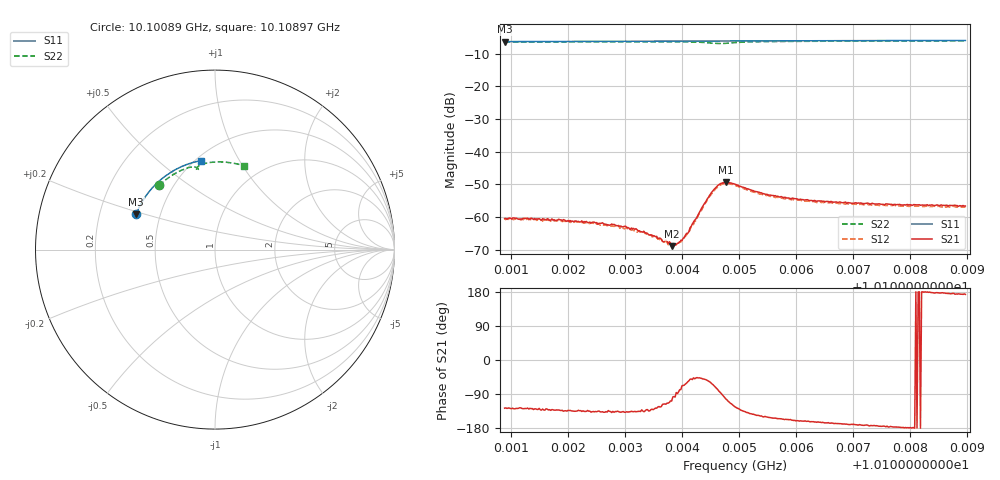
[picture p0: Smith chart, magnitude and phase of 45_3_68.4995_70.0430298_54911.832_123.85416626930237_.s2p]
#  HZ  S  RI  R  50.00
! Rohde & Schwarz Vector Network Analyzer
! Rohde-Schwarz,ZNB20-2Port,1311601062101988,3.16
! Created: UTC 3/20/2024, 5:05:45 PM
! freq[Hz]  re:S11  im:S11  re:S21  im:S21  re:S12  im:S12  re:S22  im:S22
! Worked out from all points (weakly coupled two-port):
!   401 points, 10.10089 GHz to 10.10897 GHz, reference 50 ohm
!   highest |S21| = -49.26 dB at 10.10477 GHz (marker M1); lowest = -68.9 dB at 10.10382 GHz (marker M2)
!   lowest |S11| = -6.4 dB at 10.10089 GHz (marker M3), VSWR 2.86, Z = 18.2 + j9.34 ohm
!   |S11| at or under -10 dB: nowhere
!   |S22| runs from -6.9 to -6.1 dB; largest |S21 - S12| = 0.00034
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1.0100892e10  -0.4392 0.1971  -0.000575 -0.00076  -0.000509 -0.000805  -0.311 0.3574
1.0101336e10  -0.4286 0.2222  -0.000572 -0.000746  -0.000533 -0.00076  -0.2897 0.3766
1.0102244e10  -0.4031 0.271  -0.00063 -0.000612  -0.00055 -0.000625  -0.2424 0.4119
1.010285e10  -0.383 0.3018  -0.000536 -0.000514  -0.000495 -0.00056  -0.2079 0.4321
1.0103012e10  -0.3772 0.3096  -0.000542 -0.000489  -0.000463 -0.000493  -0.1983 0.4369
1.0103294e10  -0.3667 0.3234  -0.000398 -0.000448  -0.000385 -0.000443  -0.1808 0.4449
1.0103597e10  -0.3548 0.3375  -0.000258 -0.000403  -0.000227 -0.000413  -0.1613 0.4524
1.0103718e10  -0.3499 0.3429  -0.0002 -0.000399  -0.000144 -0.000369  -0.1531 0.4551
1.0103819e10  -0.3459 0.3475  -0.000113 -0.000343  -6.3e-05 -0.000367  -0.1458 0.457
1.0103859e10  -0.3443 0.3494  -4.5e-05 -0.000394  1.23e-05 -0.000386  -0.1429 0.4579
1.010392e10  -0.3417 0.352  8.94e-06 -0.000399  8.17e-05 -0.000384  -0.1385 0.4588
1.0104021e10  -0.3375 0.3565  0.000184 -0.000439  0.00023 -0.000417  -0.1307 0.4601
1.0104102e10  -0.3341 0.3599  0.000305 -0.000477  0.00035 -0.000443  -0.1244 0.4608
1.0104445e10  -0.319 0.3743  0.00113 -0.00155  0.00122 -0.00138  -0.0967 0.4535
1.0104526e10  -0.3154 0.3776  0.0011 -0.00217  0.00124 -0.00196  -0.0932 0.4481
1.0104647e10  -0.3101 0.3824  0.000441 -0.00311  0.000689 -0.00291  -0.0951 0.4405
1.0104768e10  -0.3047 0.3873  -0.000742 -0.00336  -0.00042 -0.00327  -0.1013 0.442
1.0104929e10  -0.2974 0.3936  -0.00177 -0.00266  -0.00147 -0.00271  -0.1014 0.454
1.0105495e10  -0.2701 0.4147  -0.00194 -0.0011  -0.0018 -0.0012  -0.0647 0.478
1.0106282e10  -0.23 0.4404  -0.00172 -0.00053  -0.00159 -0.000657  -0.0111 0.4873
1.0107635e10  -0.1558 0.4745  -0.00158 -9.06e-05  -0.00149 -0.000266  0.077 0.4852
1.0108967e10  -0.0781 0.4957  -0.00147 0.000177  -0.00144 1.23e-05  0.1603 0.4673
